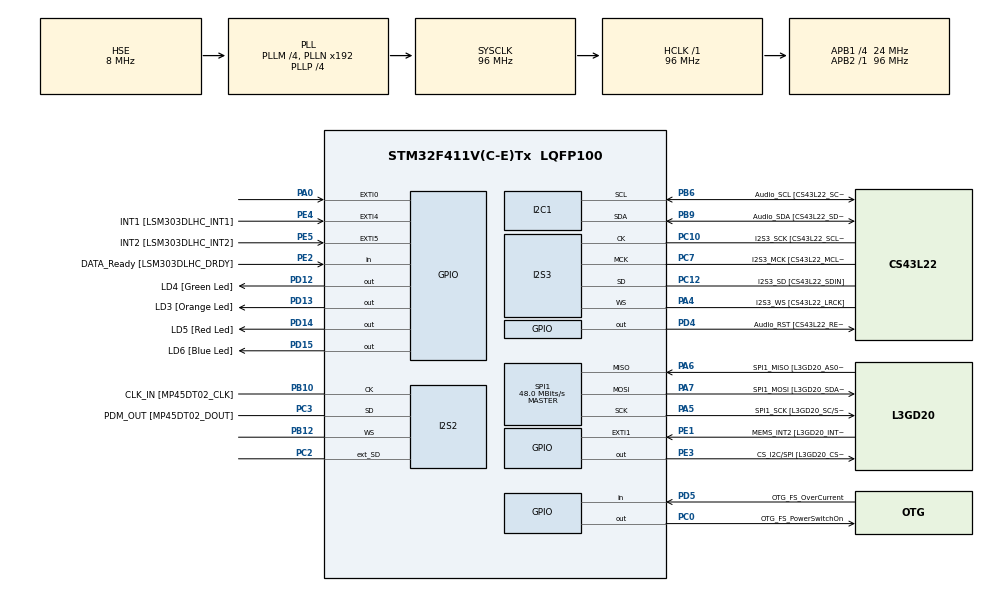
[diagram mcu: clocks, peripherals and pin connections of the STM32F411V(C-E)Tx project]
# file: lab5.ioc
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FREERTOS.INCLUDE_vTaskDelayUntil=1
FREERTOS.Tasks01=defaultTask,0,128,StartDefaultTask,Default,NULL,Dynamic,NULL,NULL;GreenTask,0,128,StartGreenTask,Default,NULL,Dynamic,NULL,NULL;BlueTask,0,128,StartBlueTask,Default,NULL,Dynamic,NULL,NULL;RedTask,0,128,StartRedTask,Default,NULL,Dynamic,NULL,NULL
I2S2.AudioFreq=I2S_AUDIOFREQ_96K
I2S2.ErrorAudioFreq=0.15 %
I2S2.FullDuplexMode=I2S_FULLDUPLEXMODE_ENABLE
I2S2.Instance=SPI$Index
I2S2.RealAudioFreq=96.153 KHz
I2S2.VirtualMode=I2S_MODE_MASTER
I2S3.AudioFreq=I2S_AUDIOFREQ_96K
I2S3.ErrorAudioFreq=-6.99 %
I2S3.FullDuplexMode=I2S_FULLDUPLEXMODE_DISABLE
I2S3.Instance=SPI$Index
I2S3.RealAudioFreq=89.285 KHz
I2S3.VirtualMode=I2S_MODE_MASTER
Mcu.Family=STM32F4
Mcu.Name=STM32F411V(C-E)Tx
Mcu.Package=LQFP100
NVIC.PriorityGroup=NVIC_PRIORITYGROUP_4
NVIC.TIM1_UP_TIM10_IRQn=true\:0\:0\:false\:false\:true\:false\:false\:true
NVIC.TimeBase=TIM1_UP_TIM10_IRQn
NVIC.TimeBaseIP=TIM1
PA0-WKUP.GPIO_ModeDefaultEXTI=GPIO_MODE_EVT_RISING
PA0-WKUP.Signal=GPXTI0
PA10.GPIO_Label=OTG_FS_ID
PA10.Signal=USB_OTG_FS_ID
PA11.GPIO_Label=OTG_FS_DM
PA11.Signal=USB_OTG_FS_DM
PA12.GPIO_Label=OTG_FS_DP
PA12.Signal=USB_OTG_FS_DP
PA13.GPIO_Label=SWDIO
PA13.Signal=SYS_JTMS-SWDIO
PA14.GPIO_Label=SWCLK
PA14.Signal=SYS_JTCK-SWCLK
PA4.GPIO_Label=I2S3_WS [CS43L22_LRCK]
PA4.GPIO_Mode=GPIO_MODE_AF_PP
PA4.GPIO_PuPd=GPIO_NOPULL
PA4.GPIO_Speed=GPIO_SPEED_FREQ_LOW
PA4.Mode=Half_Duplex_Master
PA4.Signal=I2S3_WS
PA5.GPIO_Label=SPI1_SCK [L3GD20_SC/SPC]
PA5.Mode=Full_Duplex_Master
PA5.Signal=SPI1_SCK
PA6.GPIO_Label=SPI1_MISO [L3GD20_AS0/SDO]
PA6.Mode=Full_Duplex_Master
PA6.Signal=SPI1_MISO
PA7.GPIO_Label=SPI1_MOSI [L3GD20_SDA/SDI/SDO]
PA7.Mode=Full_Duplex_Master
PA7.Signal=SPI1_MOSI
PA9.GPIO_Label=VBUS_FS
PA9.Signal=USB_OTG_FS_VBUS
PB10.GPIO_Label=CLK_IN [MP45DT02_CLK]
PB10.Mode=Full_Duplex_Master
PB10.Signal=I2S2_CK
PB12.Mode=Full_Duplex_Master
PB12.Signal=I2S2_WS
PB3.GPIO_Label=SWO
PB3.Signal=SYS_JTDO-SWO
PB6.GPIO_Label=Audio_SCL [CS43L22_SCL]
PB6.GPIO_Mode=GPIO_MODE_AF_OD
PB6.GPIO_PuPd=GPIO_NOPULL
PB6.GPIO_Speed=GPIO_SPEED_FREQ_LOW
PB6.Mode=I2C
PB6.Signal=I2C1_SCL
PB9.GPIO_Label=Audio_SDA [CS43L22_SDA]
PB9.GPIO_Mode=GPIO_MODE_AF_OD
PB9.GPIO_PuPd=GPIO_NOPULL
PB9.GPIO_Speed=GPIO_SPEED_FREQ_LOW
PB9.Mode=I2C
PB9.Signal=I2C1_SDA
PC0.GPIO_Label=OTG_FS_PowerSwitchOn
PC0.PinState=GPIO_PIN_SET
PC0.Signal=GPIO_Output
PC10.GPIO_Label=I2S3_SCK [CS43L22_SCLK]
PC10.GPIO_Mode=GPIO_MODE_AF_PP
PC10.GPIO_PuPd=GPIO_NOPULL
PC10.GPIO_Speed=GPIO_SPEED_FREQ_LOW
PC10.Mode=Half_Duplex_Master
PC10.Signal=I2S3_CK
PC12.GPIO_Label=I2S3_SD [CS43L22_SDIN]
PC12.GPIO_Mode=GPIO_MODE_AF_PP
PC12.GPIO_PuPd=GPIO_NOPULL
PC12.GPIO_Speed=GPIO_SPEED_FREQ_LOW
PC12.Mode=Half_Duplex_Master
PC12.Signal=I2S3_SD
PC14-OSC32_IN.GPIO_Label=PC14-OSC32_IN
PC14-OSC32_IN.Mode=LSE-External-Oscillator
PC14-OSC32_IN.Signal=RCC_OSC32_IN
PC15-OSC32_OUT.GPIO_Label=PC15-OSC32_OUT
PC15-OSC32_OUT.Mode=LSE-External-Oscillator
PC15-OSC32_OUT.Signal=RCC_OSC32_OUT
PC2.Mode=Full_Duplex_Master
PC2.Signal=I2S2_ext_SD
PC3.GPIO_Label=PDM_OUT [MP45DT02_DOUT]
PC3.Mode=Full_Duplex_Master
PC3.Signal=I2S2_SD
PC7.GPIO_Label=I2S3_MCK [CS43L22_MCLK]
PC7.GPIO_Mode=GPIO_MODE_AF_PP
PC7.GPIO_PuPd=GPIO_NOPULL
PC7.GPIO_Speed=GPIO_SPEED_FREQ_LOW
PC7.Mode=Master_Clock_Activated
PC7.Signal=I2S3_MCK
PD12.GPIO_Label=LD4 [Green Led]
PD12.GPIO_PuPd=GPIO_NOPULL
PD12.GPIO_Speed=GPIO_SPEED_FREQ_LOW
PD12.Signal=GPIO_Output
PD13.GPIO_Label=LD3 [Orange Led]
PD13.GPIO_PuPd=GPIO_NOPULL
PD13.GPIO_Speed=GPIO_SPEED_FREQ_LOW
PD13.Signal=GPIO_Output
PD14.GPIO_Label=LD5 [Red Led]
PD14.GPIO_PuPd=GPIO_NOPULL
PD14.GPIO_Speed=GPIO_SPEED_FREQ_LOW
PD14.Signal=GPIO_Output
PD15.GPIO_Label=LD6 [Blue Led]
PD15.GPIO_PuPd=GPIO_NOPULL
PD15.GPIO_Speed=GPIO_SPEED_FREQ_LOW
PD15.Signal=GPIO_Output
PD4.GPIO_Label=Audio_RST [CS43L22_RESET]
PD4.Signal=GPIO_Output
PD5.GPIO_Label=OTG_FS_OverCurrent
PD5.Signal=GPIO_Input
PE1.GPIO_Label=MEMS_INT2 [L3GD20_INT2]
PE1.GPIO_ModeDefaultEXTI=GPIO_MODE_EVT_RISING
PE1.Signal=GPXTI1
PE2.GPIO_Label=DATA_Ready [LSM303DLHC_DRDY]
PE2.Signal=GPIO_Input
PE3.GPIO_Label=CS_I2C/SPI [L3GD20_CS_I2C/SPI]
PE3.Signal=GPIO_Output
PE4.GPIO_Label=INT1 [LSM303DLHC_INT1]
PE4.GPIO_ModeDefaultEXTI=GPIO_MODE_EVT_RISING
PE4.Signal=GPXTI4
PE5.GPIO_Label=INT2 [LSM303DLHC_INT2]
PE5.GPIO_ModeDefaultEXTI=GPIO_MODE_EVT_RISING
PE5.Signal=GPXTI5
PH0\ -\ OSC_IN.GPIO_Label=PH0-OSC_IN
PH0\ -\ OSC_IN.Mode=HSE-External-Oscillator
PH0\ -\ OSC_IN.Signal=RCC_OSC_IN
PH1\ -\ OSC_OUT.GPIO_Label=PH1-OSC_OUT
PH1\ -\ OSC_OUT.Mode=HSE-External-Oscillator
PH1\ -\ OSC_OUT.Signal=RCC_OSC_OUT
ProjectManager.HeapSize=0x200
ProjectManager.StackSize=0x400
ProjectManager.TargetToolchain=STM32CubeIDE
RCC.48MHZClocksFreq_Value=48000000
RCC.AHBFreq_Value=96000000
RCC.APB1CLKDivider=RCC_HCLK_DIV4
RCC.APB1Freq_Value=24000000
RCC.APB1TimFreq_Value=48000000
RCC.APB2Freq_Value=96000000
RCC.APB2TimFreq_Value=96000000
RCC.CortexFreq_Value=96000000
RCC.HCLKFreq_Value=96000000
RCC.HSE_VALUE=8000000
RCC.HSI_VALUE=16000000
RCC.PLLI2SM=5
RCC.PLLI2SN=200
RCC.PLLM=4
RCC.PLLP=RCC_PLLP_DIV4
RCC.PLLQ=8
RCC.PLLSourceVirtual=RCC_PLLSOURCE_HSE
RCC.SYSCLKFreq_VALUE=96000000
RCC.SYSCLKSource=RCC_SYSCLKSOURCE_PLLCLK
RCC.VCOOutputFreq_Value=384000000
SPI1.BaudRatePrescaler=SPI_BAUDRATEPRESCALER_2
SPI1.CalculateBaudRate=48.0 MBits/s
SPI1.Direction=SPI_DIRECTION_2LINES
SPI1.Mode=SPI_MODE_MASTER
SPI1.VirtualType=VM_MASTER
VP_FREERTOS_VS_CMSIS_V1.Mode=CMSIS_V1
VP_SYS_VS_tim1.Mode=TIM1
board=STM32F411E-DISCO

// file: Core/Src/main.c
/* USER CODE BEGIN Header */
/**
  ******************************************************************************
  * @file           : main.c
  * @brief          : Main program body
  ******************************************************************************
  * @attention
  *
  * <h2><center>&copy; Copyright (c) 2024 STMicroelectronics.
  * All rights reserved.</center></h2>
  *
  * This software component is licensed by ST under Ultimate Liberty license
  * SLA0044, the "License"; You may not use this file except in compliance with
  * the License. You may obtain a copy of the License at:
  *                             www.st.com/SLA0044
  *
  ******************************************************************************
  */
/* USER CODE END Header */

#include "main.h"
#include "cmsis_os.h"

/* USER CODE BEGIN Includes */
#include "blink_leds.h"
#include "my_flags.h"
/* USER CODE END Includes */

I2C_HandleTypeDef hi2c1;

I2S_HandleTypeDef hi2s2;
I2S_HandleTypeDef hi2s3;

SPI_HandleTypeDef hspi1;

osThreadId defaultTaskHandle;
osThreadId GreenTaskHandle;
osThreadId BlueTaskHandle;
osThreadId RedTaskHandle;

void SystemClock_Config(void);
static void MX_GPIO_Init(void);
static void MX_I2C1_Init(void);
static void MX_I2S2_Init(void);
static void MX_I2S3_Init(void);
static void MX_SPI1_Init(void);
void StartDefaultTask(void const * argument);
void StartGreenTask(void const * argument);
void StartBlueTask(void const * argument);
void StartRedTask(void const * argument);

/* USER CODE BEGIN PFP */
//#define GREEN LD4_Pin;
//#define BLUE  LD6_Pin;
//#define RED   LD5_Pin;
/* USER CODE END PFP */

int main(void)
{

  /* MCU Configuration--------------------------------------------------------*/

  /* Reset of all peripherals, Initializes the Flash interface and the Systick. */
  HAL_Init();

  /* Configure the system clock */
  SystemClock_Config();

  /* Initialize all configured peripherals */
  MX_GPIO_Init();
  MX_I2C1_Init();
  MX_I2S2_Init();
  MX_I2S3_Init();
  MX_SPI1_Init();

  /* Create the thread(s) */
  /* definition and creation of defaultTask */
  osThreadDef(defaultTask, StartDefaultTask, osPriorityNormal, 0, 128);
  defaultTaskHandle = osThreadCreate(osThread(defaultTask), NULL);

  /* definition and creation of GreenTask */
  osThreadDef(GreenTask, StartGreenTask, osPriorityNormal, 0, 128);
  GreenTaskHandle = osThreadCreate(osThread(GreenTask), NULL);

  /* definition and creation of BlueTask */
  osThreadDef(BlueTask, StartBlueTask, osPriorityNormal, 0, 128);
  BlueTaskHandle = osThreadCreate(osThread(BlueTask), NULL);

  /* definition and creation of RedTask */
  osThreadDef(RedTask, StartRedTask, osPriorityNormal, 0, 128);
  RedTaskHandle = osThreadCreate(osThread(RedTask), NULL);

  /* Start scheduler */
  osKernelStart();

  /* We should never get here as control is now taken by the scheduler */

  /* Infinite loop */
  while (1)
  {

  }
}

void SystemClock_Config(void)
{
  RCC_OscInitTypeDef RCC_OscInitStruct = {0};
  RCC_ClkInitTypeDef RCC_ClkInitStruct = {0};
  RCC_PeriphCLKInitTypeDef PeriphClkInitStruct = {0};

  /** Configure the main internal regulator output voltage
  */
  __HAL_RCC_PWR_CLK_ENABLE();
  __HAL_PWR_VOLTAGESCALING_CONFIG(PWR_REGULATOR_VOLTAGE_SCALE1);
  /** Initializes the CPU, AHB and APB busses clocks
  */
  RCC_OscInitStruct.OscillatorType = RCC_OSCILLATORTYPE_HSE;
  RCC_OscInitStruct.HSEState = RCC_HSE_ON;
  RCC_OscInitStruct.PLL.PLLState = RCC_PLL_ON;
  RCC_OscInitStruct.PLL.PLLSource = RCC_PLLSOURCE_HSE;
  RCC_OscInitStruct.PLL.PLLM = 4;
  RCC_OscInitStruct.PLL.PLLN = 192;
  RCC_OscInitStruct.PLL.PLLP = RCC_PLLP_DIV4;
  RCC_OscInitStruct.PLL.PLLQ = 8;
  if (HAL_RCC_OscConfig(&RCC_OscInitStruct) != HAL_OK)
  {
    Error_Handler();
  }
  /** Initializes the CPU, AHB and APB busses clocks
  */
  RCC_ClkInitStruct.ClockType = RCC_CLOCKTYPE_HCLK|RCC_CLOCKTYPE_SYSCLK
                              |RCC_CLOCKTYPE_PCLK1|RCC_CLOCKTYPE_PCLK2;
  RCC_ClkInitStruct.SYSCLKSource = RCC_SYSCLKSOURCE_PLLCLK;
  RCC_ClkInitStruct.AHBCLKDivider = RCC_SYSCLK_DIV1;
  RCC_ClkInitStruct.APB1CLKDivider = RCC_HCLK_DIV4;
  RCC_ClkInitStruct.APB2CLKDivider = RCC_HCLK_DIV1;

  if (HAL_RCC_ClockConfig(&RCC_ClkInitStruct, FLASH_LATENCY_3) != HAL_OK)
  {
    Error_Handler();
  }
  PeriphClkInitStruct.PeriphClockSelection = RCC_PERIPHCLK_I2S;
  PeriphClkInitStruct.PLLI2S.PLLI2SN = 200;
  PeriphClkInitStruct.PLLI2S.PLLI2SM = 5;
  PeriphClkInitStruct.PLLI2S.PLLI2SR = 2;
  if (HAL_RCCEx_PeriphCLKConfig(&PeriphClkInitStruct) != HAL_OK)
  {
    Error_Handler();
  }
}

static void MX_I2C1_Init(void)
{

  hi2c1.Instance = I2C1;
  hi2c1.Init.ClockSpeed = 100000;
  hi2c1.Init.DutyCycle = I2C_DUTYCYCLE_2;
  hi2c1.Init.OwnAddress1 = 0;
  hi2c1.Init.AddressingMode = I2C_ADDRESSINGMODE_7BIT;
  hi2c1.Init.DualAddressMode = I2C_DUALADDRESS_DISABLE;
  hi2c1.Init.OwnAddress2 = 0;
  hi2c1.Init.GeneralCallMode = I2C_GENERALCALL_DISABLE;
  hi2c1.Init.NoStretchMode = I2C_NOSTRETCH_DISABLE;
  if (HAL_I2C_Init(&hi2c1) != HAL_OK)
  {
    Error_Handler();
  }

}

static void MX_I2S2_Init(void)
{

  hi2s2.Instance = SPI2;
  hi2s2.Init.Mode = I2S_MODE_MASTER_TX;
  hi2s2.Init.Standard = I2S_STANDARD_PHILIPS;
  hi2s2.Init.DataFormat = I2S_DATAFORMAT_16B;
  hi2s2.Init.MCLKOutput = I2S_MCLKOUTPUT_DISABLE;
  hi2s2.Init.AudioFreq = I2S_AUDIOFREQ_96K;
  hi2s2.Init.CPOL = I2S_CPOL_LOW;
  hi2s2.Init.ClockSource = I2S_CLOCK_PLL;
  hi2s2.Init.FullDuplexMode = I2S_FULLDUPLEXMODE_ENABLE;
  if (HAL_I2S_Init(&hi2s2) != HAL_OK)
  {
    Error_Handler();
  }

}

static void MX_I2S3_Init(void)
{

  hi2s3.Instance = SPI3;
  hi2s3.Init.Mode = I2S_MODE_MASTER_TX;
  hi2s3.Init.Standard = I2S_STANDARD_PHILIPS;
  hi2s3.Init.DataFormat = I2S_DATAFORMAT_16B;
  hi2s3.Init.MCLKOutput = I2S_MCLKOUTPUT_ENABLE;
  hi2s3.Init.AudioFreq = I2S_AUDIOFREQ_96K;
  hi2s3.Init.CPOL = I2S_CPOL_LOW;
  hi2s3.Init.ClockSource = I2S_CLOCK_PLL;
  hi2s3.Init.FullDuplexMode = I2S_FULLDUPLEXMODE_DISABLE;
  if (HAL_I2S_Init(&hi2s3) != HAL_OK)
  {
    Error_Handler();
  }

}

static void MX_SPI1_Init(void)
{

  /* SPI1 parameter configuration*/
  hspi1.Instance = SPI1;
  hspi1.Init.Mode = SPI_MODE_MASTER;
  hspi1.Init.Direction = SPI_DIRECTION_2LINES;
  hspi1.Init.DataSize = SPI_DATASIZE_8BIT;
  hspi1.Init.CLKPolarity = SPI_POLARITY_LOW;
  hspi1.Init.CLKPhase = SPI_PHASE_1EDGE;
  hspi1.Init.NSS = SPI_NSS_SOFT;
  hspi1.Init.BaudRatePrescaler = SPI_BAUDRATEPRESCALER_2;
  hspi1.Init.FirstBit = SPI_FIRSTBIT_MSB;
  hspi1.Init.TIMode = SPI_TIMODE_DISABLE;
  hspi1.Init.CRCCalculation = SPI_CRCCALCULATION_DISABLE;
  hspi1.Init.CRCPolynomial = 10;
  if (HAL_SPI_Init(&hspi1) != HAL_OK)
  {
    Error_Handler();
  }

}

static void MX_GPIO_Init(void)
{
  GPIO_InitTypeDef GPIO_InitStruct = {0};

  /* GPIO Ports Clock Enable */
  __HAL_RCC_GPIOE_CLK_ENABLE();
  __HAL_RCC_GPIOC_CLK_ENABLE();
  __HAL_RCC_GPIOH_CLK_ENABLE();
  __HAL_RCC_GPIOA_CLK_ENABLE();
  __HAL_RCC_GPIOB_CLK_ENABLE();
  __HAL_RCC_GPIOD_CLK_ENABLE();

  /*Configure GPIO pin Output Level */
  HAL_GPIO_WritePin(CS_I2C_SPI_GPIO_Port, CS_I2C_SPI_Pin, GPIO_PIN_RESET);

  /*Configure GPIO pin Output Level */
  HAL_GPIO_WritePin(OTG_FS_PowerSwitchOn_GPIO_Port, OTG_FS_PowerSwitchOn_Pin, GPIO_PIN_SET);

  /*Configure GPIO pin Output Level */
  HAL_GPIO_WritePin(GPIOD, LD4_Pin|LD3_Pin|LD5_Pin|LD6_Pin
                          |Audio_RST_Pin, GPIO_PIN_RESET);

  /*Configure GPIO pin : DATA_Ready_Pin */
  GPIO_InitStruct.Pin = DATA_Ready_Pin;
  GPIO_InitStruct.Mode = GPIO_MODE_INPUT;
  GPIO_InitStruct.Pull = GPIO_NOPULL;
  HAL_GPIO_Init(DATA_Ready_GPIO_Port, &GPIO_InitStruct);

  /*Configure GPIO pin : CS_I2C_SPI_Pin */
  GPIO_InitStruct.Pin = CS_I2C_SPI_Pin;
  GPIO_InitStruct.Mode = GPIO_MODE_OUTPUT_PP;
  GPIO_InitStruct.Pull = GPIO_NOPULL;
  GPIO_InitStruct.Speed = GPIO_SPEED_FREQ_LOW;
  HAL_GPIO_Init(CS_I2C_SPI_GPIO_Port, &GPIO_InitStruct);

  /*Configure GPIO pins : INT1_Pin INT2_Pin MEMS_INT2_Pin */
  GPIO_InitStruct.Pin = INT1_Pin|INT2_Pin|MEMS_INT2_Pin;
  GPIO_InitStruct.Mode = GPIO_MODE_EVT_RISING;
  GPIO_InitStruct.Pull = GPIO_NOPULL;
  HAL_GPIO_Init(GPIOE, &GPIO_InitStruct);

  /*Configure GPIO pin : OTG_FS_PowerSwitchOn_Pin */
  GPIO_InitStruct.Pin = OTG_FS_PowerSwitchOn_Pin;
  GPIO_InitStruct.Mode = GPIO_MODE_OUTPUT_PP;
  GPIO_InitStruct.Pull = GPIO_NOPULL;
  GPIO_InitStruct.Speed = GPIO_SPEED_FREQ_LOW;
  HAL_GPIO_Init(OTG_FS_PowerSwitchOn_GPIO_Port, &GPIO_InitStruct);

  /*Configure GPIO pin : PA0 */
  GPIO_InitStruct.Pin = GPIO_PIN_0;
  GPIO_InitStruct.Mode = GPIO_MODE_EVT_RISING;
  GPIO_InitStruct.Pull = GPIO_NOPULL;
  HAL_GPIO_Init(GPIOA, &GPIO_InitStruct);

  /*Configure GPIO pins : LD4_Pin LD3_Pin LD5_Pin LD6_Pin
                           Audio_RST_Pin */
  GPIO_InitStruct.Pin = LD4_Pin|LD3_Pin|LD5_Pin|LD6_Pin
                          |Audio_RST_Pin;
  GPIO_InitStruct.Mode = GPIO_MODE_OUTPUT_PP;
  GPIO_InitStruct.Pull = GPIO_NOPULL;
  GPIO_InitStruct.Speed = GPIO_SPEED_FREQ_LOW;
  HAL_GPIO_Init(GPIOD, &GPIO_InitStruct);

  /*Configure GPIO pin : VBUS_FS_Pin */
  GPIO_InitStruct.Pin = VBUS_FS_Pin;
  GPIO_InitStruct.Mode = GPIO_MODE_INPUT;
  GPIO_InitStruct.Pull = GPIO_NOPULL;
  HAL_GPIO_Init(VBUS_FS_GPIO_Port, &GPIO_InitStruct);

  /*Configure GPIO pins : OTG_FS_ID_Pin OTG_FS_DM_Pin OTG_FS_DP_Pin */
  GPIO_InitStruct.Pin = OTG_FS_ID_Pin|OTG_FS_DM_Pin|OTG_FS_DP_Pin;
  GPIO_InitStruct.Mode = GPIO_MODE_AF_PP;
  GPIO_InitStruct.Pull = GPIO_NOPULL;
  GPIO_InitStruct.Speed = GPIO_SPEED_FREQ_VERY_HIGH;
  GPIO_InitStruct.Alternate = GPIO_AF10_OTG_FS;
  HAL_GPIO_Init(GPIOA, &GPIO_InitStruct);

  /*Configure GPIO pin : OTG_FS_OverCurrent_Pin */
  GPIO_InitStruct.Pin = OTG_FS_OverCurrent_Pin;
  GPIO_InitStruct.Mode = GPIO_MODE_INPUT;
  GPIO_InitStruct.Pull = GPIO_NOPULL;
  HAL_GPIO_Init(OTG_FS_OverCurrent_GPIO_Port, &GPIO_InitStruct);

}

void StartDefaultTask(void const * argument)
{
  for(;;)
  {
    osDelay(1);
  }
}

void StartGreenTask(void const * argument)
{
  /* USER CODE BEGIN StartGreenTask */
  /* Infinite loop */
  for(;;)
  {

	 flashLed(LD4_Pin, 50, 100);//10Hz, 10 cycles
	 set_flag(1);
	 flashLed(LD4_Pin, 500, 10);//1Hz 10 cycles
	 reset_flag(1);
	 flashLed(LD4_Pin, 50, 100);//10Hz, 10 cycles

	 vTaskSuspend(NULL);

  }
  /* USER CODE END StartGreenTask */
}

void StartBlueTask(void const * argument)
{
  /* USER CODE BEGIN StartBlueTask */
  /* Infinite loop */
  for(;;)
  {

	  HAL_GPIO_WritePin(GPIOD, LD6_Pin, GPIO_PIN_SET);
	  osDelay(50);
	  HAL_GPIO_WritePin(GPIOD, LD6_Pin, GPIO_PIN_RESET);
	  osDelay(50);

	  if((check_flag(1)==Set) && (check_flag(2)==Set))
	  {

		  HAL_GPIO_WritePin(GPIOD, LD6_Pin, GPIO_PIN_SET);
		  osDelay(500);
		  HAL_GPIO_WritePin(GPIOD, LD6_Pin, GPIO_PIN_RESET);
		  osDelay(500);
	  }

	  else if((check_flag(1)==Reset) && (check_flag(2)==Reset))
	  {

		  HAL_GPIO_WritePin(GPIOD, LD6_Pin, GPIO_PIN_SET);
		  osDelay(50);
		  HAL_GPIO_WritePin(GPIOD, LD6_Pin, GPIO_PIN_RESET);
		  osDelay(50);
	  }

  }
  /* USER CODE END StartBlueTask */
}

void StartRedTask(void const * argument)
{
  /* USER CODE BEGIN StartRedTask */
  /* Infinite loop */
  for(;;)
  {
	flashLed(LD5_Pin, 50, 150);//10Hz, 15 cycles
	set_flag(2);
	flashLed(LD5_Pin, 500, 10);//1Hz 10 cycles
	reset_flag(2);
	flashLed(LD5_Pin, 50, 50);//10Hz, 5 cycles

	vTaskSuspend(NULL);

  }
  /* USER CODE END StartRedTask */
}

void HAL_TIM_PeriodElapsedCallback(TIM_HandleTypeDef *htim)
{
  if (htim->Instance == TIM1) {
    HAL_IncTick();
  }
}

void Error_Handler(void)
{
}

/************************ (C) COPYRIGHT STMicroelectronics *****END OF FILE****/
